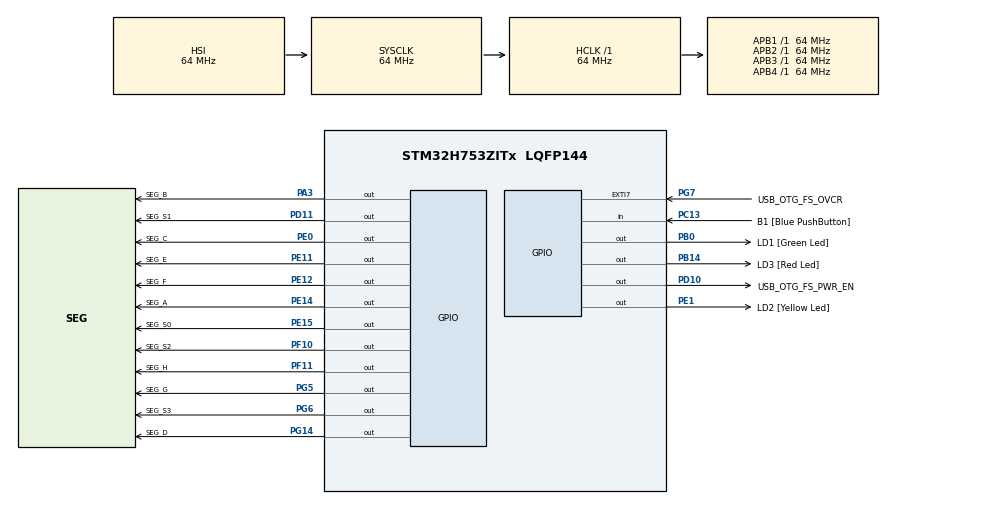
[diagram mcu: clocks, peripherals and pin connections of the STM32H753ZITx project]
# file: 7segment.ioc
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CORTEX_M7.CPU_DCache=Disabled
CORTEX_M7.CPU_ICache=Disabled
CORTEX_M7.MPU_Control=__NULL
Mcu.Family=STM32H7
Mcu.Name=STM32H753ZITx
Mcu.Package=LQFP144
NVIC.PriorityGroup=NVIC_PRIORITYGROUP_4
NVIC.TIM1_UP_IRQn=true\:0\:0\:false\:false\:true\:true\:true\:true
NVIC.TIM6_DAC_IRQn=true\:0\:0\:false\:false\:true\:true\:true\:true
PA1.Signal=ETH_REF_CLK
PA11.Signal=USB_OTG_FS_DM
PA12.Signal=USB_OTG_FS_DP
PA2.Signal=ETH_MDIO
PA3.GPIO_Label=SEG_B
PA3.Signal=GPIO_Output
PA7.Signal=ETH_CRS_DV
PA8.Signal=USB_OTG_FS_SOF
PA9.Signal=USB_OTG_FS_VBUS
PB0.GPIO_Label=LD1 [Green Led]
PB0.Signal=GPIO_Output
PB13.Signal=ETH_TXD1
PB14.GPIO_Label=LD3 [Red Led]
PB14.Signal=GPIO_Output
PC1.Signal=ETH_MDC
PC13.GPIO_Label=B1 [Blue PushButton]
PC13.Signal=GPIO_Input
PC14-OSC32_IN\ (OSC32_IN).Mode=LSE-External-Oscillator
PC14-OSC32_IN\ (OSC32_IN).Signal=RCC_OSC32_IN
PC15-OSC32_OUT\ (OSC32_OUT).Mode=LSE-External-Oscillator
PC15-OSC32_OUT\ (OSC32_OUT).Signal=RCC_OSC32_OUT
PC4.Signal=ETH_RXD0
PC5.Signal=ETH_RXD1
PD10.GPIO_Label=USB_OTG_FS_PWR_EN
PD10.Signal=GPIO_Output
PD11.GPIO_Label=SEG_S1
PD11.Signal=GPIO_Output
PD8.GPIO_Label=STLINK_RX
PD8.Signal=USART3_TX
PD9.GPIO_Label=STLINK_TX
PD9.Signal=USART3_RX
PE0.GPIO_Label=SEG_C
PE0.Signal=GPIO_Output
PE1.GPIO_Label=LD2 [Yellow Led]
PE1.Signal=GPIO_Output
PE11.GPIO_Label=SEG_E
PE11.Signal=GPIO_Output
PE12.GPIO_Label=SEG_F
PE12.Signal=GPIO_Output
PE14.GPIO_Label=SEG_A
PE14.Signal=GPIO_Output
PE15.GPIO_Label=SEG_S0
PE15.Signal=GPIO_Output
PF10.GPIO_Label=SEG_S2
PF10.Signal=GPIO_Output
PF11.GPIO_Label=SEG_H
PF11.Signal=GPIO_Output
PG11.Signal=ETH_TX_EN
PG13.Signal=ETH_TXD0
PG14.GPIO_Label=SEG_D
PG14.Signal=GPIO_Output
PG5.GPIO_Label=SEG_G
PG5.Signal=GPIO_Output
PG6.GPIO_Label=SEG_S3
PG6.Signal=GPIO_Output
PG7.GPIO_Label=USB_OTG_FS_OVCR
PG7.Signal=GPXTI7
PH0-OSC_IN\ (PH0).Mode=HSE-External-Clock-Source
PH0-OSC_IN\ (PH0).Signal=RCC_OSC_IN
PH1-OSC_OUT\ (PH1).Signal=RCC_OSC_OUT
ProjectManager.HeapSize=0x200
ProjectManager.StackSize=0x400
ProjectManager.TargetToolchain=STM32CubeIDE
RCC.ADCFreq_Value=16125000
RCC.APB1Freq_Value=64000000
RCC.APB2Freq_Value=64000000
RCC.APB3Freq_Value=64000000
RCC.APB4Freq_Value=64000000
RCC.CortexFreq_Value=64000000
RCC.DIVM1=1
RCC.DIVN1=24
RCC.DIVQ1=4
RCC.HCLKFreq_Value=64000000
RCC.HSE_VALUE=8000000
RCC.PLLFRACN=0
RCC.PLLSourceVirtual=RCC_PLLSOURCE_HSE
RCC.PWR_Regulator_Voltage_Scale=PWR_REGULATOR_VOLTAGE_SCALE2
RCC.SYSCLKFreq_VALUE=64000000
RCC.USBFreq_Value=48000000
TIM1.AutoReloadPreload=TIM_AUTORELOAD_PRELOAD_ENABLE
TIM1.Period=1000
TIM1.Prescaler=64000
TIM1.TIM_MasterOutputTrigger=TIM_TRGO_UPDATE
TIM6.AutoReloadPreload=TIM_AUTORELOAD_PRELOAD_ENABLE
TIM6.Period=22
TIM6.Prescaler=64000
TIM6.TIM_MasterOutputTrigger=TIM_TRGO_UPDATE
VP_MEMORYMAP_VS_MEMORYMAP.Mode=CurAppReg
VP_TIM1_VS_ClockSourceINT.Mode=Internal
VP_TIM6_VS_ClockSourceINT.Mode=Enable_Timer
board=NUCLEO-H753ZI

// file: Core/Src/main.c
/* USER CODE BEGIN Header */
/**
 ******************************************************************************
 * @file           : main.c
 * @brief          : Main program body
 ******************************************************************************
 * @attention
 *
 * Copyright (c) 2024 STMicroelectronics.
 * All rights reserved.
 *
 * This software is licensed under terms that can be found in the LICENSE file
 * in the root directory of this software component.
 * If no LICENSE file comes with this software, it is provided AS-IS.
 *
 ******************************************************************************
 */
/* USER CODE END Header */
#include "main.h"

/* USER CODE BEGIN Includes */
#include "segment.h"
/* USER CODE END Includes */

TIM_HandleTypeDef htim1;
TIM_HandleTypeDef htim6;

/* USER CODE BEGIN PV */
segment_t *seg_handle;
/* USER CODE END PV */

void SystemClock_Config(void);
static void MX_GPIO_Init(void);
static void MX_TIM6_Init(void);
static void MX_TIM1_Init(void);

int main(void) {

	/* MCU Configuration--------------------------------------------------------*/

	/* Reset of all peripherals, Initializes the Flash interface and the Systick. */
	HAL_Init();

	/* Configure the system clock */
	SystemClock_Config();

	/* Initialize all configured peripherals */
	MX_GPIO_Init();
	MX_TIM6_Init();
	MX_TIM1_Init();
	/* USER CODE BEGIN 2 */
	//註冊句柄
	seg_handle = segment_new(4);
	//設定顯示初始值
	segment_num_set(seg_handle, 1234);
	/* USER CODE END 2 */

	/* Infinite loop */
	/* USER CODE BEGIN WHILE */
	while (1) {
		//刷新七段內容
		segment_flush(seg_handle);
		HAL_Delay(100);
		/* USER CODE END WHILE */

	}
}

void SystemClock_Config(void) {
	RCC_OscInitTypeDef RCC_OscInitStruct = { 0 };
	RCC_ClkInitTypeDef RCC_ClkInitStruct = { 0 };

	/** Supply configuration update enable
	 */
	HAL_PWREx_ConfigSupply(PWR_LDO_SUPPLY);

	/** Configure the main internal regulator output voltage
	 */
	__HAL_PWR_VOLTAGESCALING_CONFIG(PWR_REGULATOR_VOLTAGE_SCALE2);

	while (!__HAL_PWR_GET_FLAG(PWR_FLAG_VOSRDY)) {
	}

	/** Initializes the RCC Oscillators according to the specified parameters
	 * in the RCC_OscInitTypeDef structure.
	 */
	RCC_OscInitStruct.OscillatorType = RCC_OSCILLATORTYPE_HSI;
	RCC_OscInitStruct.HSIState = RCC_HSI_DIV1;
	RCC_OscInitStruct.HSICalibrationValue = RCC_HSICALIBRATION_DEFAULT;
	RCC_OscInitStruct.PLL.PLLState = RCC_PLL_NONE;
	if (HAL_RCC_OscConfig(&RCC_OscInitStruct) != HAL_OK) {
		Error_Handler();
	}

	/** Initializes the CPU, AHB and APB buses clocks
	 */
	RCC_ClkInitStruct.ClockType = RCC_CLOCKTYPE_HCLK | RCC_CLOCKTYPE_SYSCLK
			| RCC_CLOCKTYPE_PCLK1 | RCC_CLOCKTYPE_PCLK2 | RCC_CLOCKTYPE_D3PCLK1
			| RCC_CLOCKTYPE_D1PCLK1;
	RCC_ClkInitStruct.SYSCLKSource = RCC_SYSCLKSOURCE_HSI;
	RCC_ClkInitStruct.SYSCLKDivider = RCC_SYSCLK_DIV1;
	RCC_ClkInitStruct.AHBCLKDivider = RCC_HCLK_DIV1;
	RCC_ClkInitStruct.APB3CLKDivider = RCC_APB3_DIV1;
	RCC_ClkInitStruct.APB1CLKDivider = RCC_APB1_DIV1;
	RCC_ClkInitStruct.APB2CLKDivider = RCC_APB2_DIV1;
	RCC_ClkInitStruct.APB4CLKDivider = RCC_APB4_DIV1;

	if (HAL_RCC_ClockConfig(&RCC_ClkInitStruct, FLASH_LATENCY_1) != HAL_OK) {
		Error_Handler();
	}
}

static void MX_TIM1_Init(void) {

	TIM_ClockConfigTypeDef sClockSourceConfig = { 0 };
	TIM_MasterConfigTypeDef sMasterConfig = { 0 };

	htim1.Instance = TIM1;
	htim1.Init.Prescaler = 6400;
	htim1.Init.CounterMode = TIM_COUNTERMODE_UP;
	htim1.Init.Period = 1000;
	htim1.Init.ClockDivision = TIM_CLOCKDIVISION_DIV1;
	htim1.Init.RepetitionCounter = 0;
	htim1.Init.AutoReloadPreload = TIM_AUTORELOAD_PRELOAD_ENABLE;
	if (HAL_TIM_Base_Init(&htim1) != HAL_OK) {
		Error_Handler();
	}
	sClockSourceConfig.ClockSource = TIM_CLOCKSOURCE_INTERNAL;
	if (HAL_TIM_ConfigClockSource(&htim1, &sClockSourceConfig) != HAL_OK) {
		Error_Handler();
	}
	sMasterConfig.MasterOutputTrigger = TIM_TRGO_UPDATE;
	sMasterConfig.MasterOutputTrigger2 = TIM_TRGO2_RESET;
	sMasterConfig.MasterSlaveMode = TIM_MASTERSLAVEMODE_DISABLE;
	if (HAL_TIMEx_MasterConfigSynchronization(&htim1, &sMasterConfig)
			!= HAL_OK) {
		Error_Handler();
	}

}

static void MX_TIM6_Init(void) {

	TIM_MasterConfigTypeDef sMasterConfig = { 0 };

	htim6.Instance = TIM6;
	htim6.Init.Prescaler = 6400;
	htim6.Init.CounterMode = TIM_COUNTERMODE_UP;
	htim6.Init.Period = 22;
	htim6.Init.AutoReloadPreload = TIM_AUTORELOAD_PRELOAD_ENABLE;
	if (HAL_TIM_Base_Init(&htim6) != HAL_OK) {
		Error_Handler();
	}
	sMasterConfig.MasterOutputTrigger = TIM_TRGO_UPDATE;
	sMasterConfig.MasterSlaveMode = TIM_MASTERSLAVEMODE_DISABLE;
	if (HAL_TIMEx_MasterConfigSynchronization(&htim6, &sMasterConfig)
			!= HAL_OK) {
		Error_Handler();
	}

}

static void MX_GPIO_Init(void) {
	GPIO_InitTypeDef GPIO_InitStruct = { 0 };

	/* GPIO Ports Clock Enable */
	__HAL_RCC_GPIOC_CLK_ENABLE();
	__HAL_RCC_GPIOF_CLK_ENABLE();
	__HAL_RCC_GPIOH_CLK_ENABLE();
	__HAL_RCC_GPIOA_CLK_ENABLE();
	__HAL_RCC_GPIOB_CLK_ENABLE();
	__HAL_RCC_GPIOE_CLK_ENABLE();
	__HAL_RCC_GPIOD_CLK_ENABLE();
	__HAL_RCC_GPIOG_CLK_ENABLE();

	/*Configure GPIO pin Output Level */
	HAL_GPIO_WritePin(GPIOF, SEG_S2_Pin | SEG_H_Pin, GPIO_PIN_RESET);

	/*Configure GPIO pin Output Level */
	HAL_GPIO_WritePin(SEG_B_GPIO_Port, SEG_B_Pin, GPIO_PIN_RESET);

	/*Configure GPIO pin Output Level */
	HAL_GPIO_WritePin(GPIOB, LD1_Pin | LD3_Pin, GPIO_PIN_RESET);

	/*Configure GPIO pin Output Level */
	HAL_GPIO_WritePin(GPIOE,
	SEG_E_Pin | SEG_F_Pin | SEG_A_Pin | SEG_S0_Pin | SEG_C_Pin | LD2_Pin,
			GPIO_PIN_RESET);

	/*Configure GPIO pin Output Level */
	HAL_GPIO_WritePin(GPIOD, USB_OTG_FS_PWR_EN_Pin | SEG_S1_Pin,
			GPIO_PIN_RESET);

	/*Configure GPIO pin Output Level */
	HAL_GPIO_WritePin(GPIOG, SEG_G_Pin | SEG_S3_Pin | SEG_D_Pin,
			GPIO_PIN_RESET);

	/*Configure GPIO pin : B1_Pin */
	GPIO_InitStruct.Pin = B1_Pin;
	GPIO_InitStruct.Mode = GPIO_MODE_INPUT;
	GPIO_InitStruct.Pull = GPIO_NOPULL;
	HAL_GPIO_Init(B1_GPIO_Port, &GPIO_InitStruct);

	/*Configure GPIO pins : SEG_S2_Pin SEG_H_Pin */
	GPIO_InitStruct.Pin = SEG_S2_Pin | SEG_H_Pin;
	GPIO_InitStruct.Mode = GPIO_MODE_OUTPUT_PP;
	GPIO_InitStruct.Pull = GPIO_NOPULL;
	GPIO_InitStruct.Speed = GPIO_SPEED_FREQ_LOW;
	HAL_GPIO_Init(GPIOF, &GPIO_InitStruct);

	/*Configure GPIO pins : PC1 PC4 PC5 */
	GPIO_InitStruct.Pin = GPIO_PIN_1 | GPIO_PIN_4 | GPIO_PIN_5;
	GPIO_InitStruct.Mode = GPIO_MODE_AF_PP;
	GPIO_InitStruct.Pull = GPIO_NOPULL;
	GPIO_InitStruct.Speed = GPIO_SPEED_FREQ_LOW;
	GPIO_InitStruct.Alternate = GPIO_AF11_ETH;
	HAL_GPIO_Init(GPIOC, &GPIO_InitStruct);

	/*Configure GPIO pins : PA1 PA2 PA7 */
	GPIO_InitStruct.Pin = GPIO_PIN_1 | GPIO_PIN_2 | GPIO_PIN_7;
	GPIO_InitStruct.Mode = GPIO_MODE_AF_PP;
	GPIO_InitStruct.Pull = GPIO_NOPULL;
	GPIO_InitStruct.Speed = GPIO_SPEED_FREQ_LOW;
	GPIO_InitStruct.Alternate = GPIO_AF11_ETH;
	HAL_GPIO_Init(GPIOA, &GPIO_InitStruct);

	/*Configure GPIO pin : SEG_B_Pin */
	GPIO_InitStruct.Pin = SEG_B_Pin;
	GPIO_InitStruct.Mode = GPIO_MODE_OUTPUT_PP;
	GPIO_InitStruct.Pull = GPIO_NOPULL;
	GPIO_InitStruct.Speed = GPIO_SPEED_FREQ_LOW;
	HAL_GPIO_Init(SEG_B_GPIO_Port, &GPIO_InitStruct);

	/*Configure GPIO pins : LD1_Pin LD3_Pin */
	GPIO_InitStruct.Pin = LD1_Pin | LD3_Pin;
	GPIO_InitStruct.Mode = GPIO_MODE_OUTPUT_PP;
	GPIO_InitStruct.Pull = GPIO_NOPULL;
	GPIO_InitStruct.Speed = GPIO_SPEED_FREQ_LOW;
	HAL_GPIO_Init(GPIOB, &GPIO_InitStruct);

	/*Configure GPIO pins : SEG_E_Pin SEG_F_Pin SEG_A_Pin SEG_S0_Pin
	 SEG_C_Pin LD2_Pin */
	GPIO_InitStruct.Pin = SEG_E_Pin | SEG_F_Pin | SEG_A_Pin | SEG_S0_Pin
			| SEG_C_Pin | LD2_Pin;
	GPIO_InitStruct.Mode = GPIO_MODE_OUTPUT_PP;
	GPIO_InitStruct.Pull = GPIO_NOPULL;
	GPIO_InitStruct.Speed = GPIO_SPEED_FREQ_LOW;
	HAL_GPIO_Init(GPIOE, &GPIO_InitStruct);

	/*Configure GPIO pin : PB13 */
	GPIO_InitStruct.Pin = GPIO_PIN_13;
	GPIO_InitStruct.Mode = GPIO_MODE_AF_PP;
	GPIO_InitStruct.Pull = GPIO_NOPULL;
	GPIO_InitStruct.Speed = GPIO_SPEED_FREQ_LOW;
	GPIO_InitStruct.Alternate = GPIO_AF11_ETH;
	HAL_GPIO_Init(GPIOB, &GPIO_InitStruct);

	/*Configure GPIO pins : STLINK_RX_Pin STLINK_TX_Pin */
	GPIO_InitStruct.Pin = STLINK_RX_Pin | STLINK_TX_Pin;
	GPIO_InitStruct.Mode = GPIO_MODE_AF_PP;
	GPIO_InitStruct.Pull = GPIO_NOPULL;
	GPIO_InitStruct.Speed = GPIO_SPEED_FREQ_LOW;
	GPIO_InitStruct.Alternate = GPIO_AF7_USART3;
	HAL_GPIO_Init(GPIOD, &GPIO_InitStruct);

	/*Configure GPIO pins : USB_OTG_FS_PWR_EN_Pin SEG_S1_Pin */
	GPIO_InitStruct.Pin = USB_OTG_FS_PWR_EN_Pin | SEG_S1_Pin;
	GPIO_InitStruct.Mode = GPIO_MODE_OUTPUT_PP;
	GPIO_InitStruct.Pull = GPIO_NOPULL;
	GPIO_InitStruct.Speed = GPIO_SPEED_FREQ_LOW;
	HAL_GPIO_Init(GPIOD, &GPIO_InitStruct);

	/*Configure GPIO pins : SEG_G_Pin SEG_S3_Pin SEG_D_Pin */
	GPIO_InitStruct.Pin = SEG_G_Pin | SEG_S3_Pin | SEG_D_Pin;
	GPIO_InitStruct.Mode = GPIO_MODE_OUTPUT_PP;
	GPIO_InitStruct.Pull = GPIO_NOPULL;
	GPIO_InitStruct.Speed = GPIO_SPEED_FREQ_LOW;
	HAL_GPIO_Init(GPIOG, &GPIO_InitStruct);

	/*Configure GPIO pin : USB_OTG_FS_OVCR_Pin */
	GPIO_InitStruct.Pin = USB_OTG_FS_OVCR_Pin;
	GPIO_InitStruct.Mode = GPIO_MODE_IT_RISING;
	GPIO_InitStruct.Pull = GPIO_NOPULL;
	HAL_GPIO_Init(USB_OTG_FS_OVCR_GPIO_Port, &GPIO_InitStruct);

	/*Configure GPIO pins : PA8 PA11 PA12 */
	GPIO_InitStruct.Pin = GPIO_PIN_8 | GPIO_PIN_11 | GPIO_PIN_12;
	GPIO_InitStruct.Mode = GPIO_MODE_AF_PP;
	GPIO_InitStruct.Pull = GPIO_NOPULL;
	GPIO_InitStruct.Speed = GPIO_SPEED_FREQ_LOW;
	GPIO_InitStruct.Alternate = GPIO_AF10_OTG1_FS;
	HAL_GPIO_Init(GPIOA, &GPIO_InitStruct);

	/*Configure GPIO pins : PG11 PG13 */
	GPIO_InitStruct.Pin = GPIO_PIN_11 | GPIO_PIN_13;
	GPIO_InitStruct.Mode = GPIO_MODE_AF_PP;
	GPIO_InitStruct.Pull = GPIO_NOPULL;
	GPIO_InitStruct.Speed = GPIO_SPEED_FREQ_LOW;
	GPIO_InitStruct.Alternate = GPIO_AF11_ETH;
	HAL_GPIO_Init(GPIOG, &GPIO_InitStruct);

}

/* USER CODE BEGIN 4 */
void HAL_TIM_PeriodElapsedCallback(TIM_HandleTypeDef *htim) {
	if (htim->Instance == htim1.Instance) {
		/*TIM1 執行*/
		second_count++;
		if(seg_handle)
			segment_float_set(seg_handle, second_count / 10, second_count % 10, 1);
		if (second_count > 9999)
			second_count = 0;
	}
	if (htim->Instance == htim6.Instance) {
		/*TIM6 執行*/
		//刷新七段顯示
		segment_flush(seg_handle);
	}
}
/* USER CODE END 4 */

void Error_Handler(void) {
	__disable_irq();
	while (1) {
	}
}
